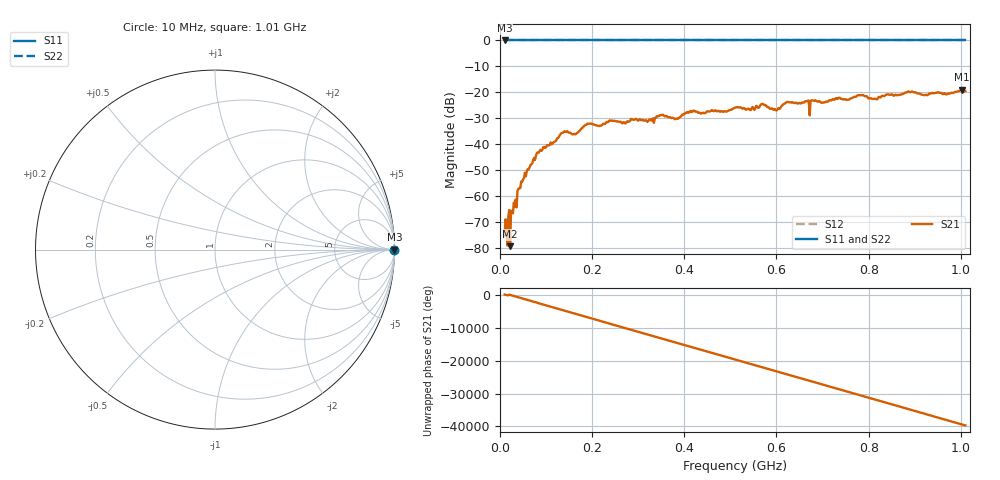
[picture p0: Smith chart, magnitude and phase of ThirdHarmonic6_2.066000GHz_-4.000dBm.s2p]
! 8/17/2025 12:45:00 AM
! C:\ANRITSUVNA\TEMP\TEMP.S2P
! CHANNEL.1
! TR.MEASUREMENT
! RAW.DATA
! RF.CORRECTION.OFF
! AVERAGING.OFF
! IF.BANDWIDTH: 5KHZ
! SWEEPTYPE:  FREQ.SWEEP(Linear)
! Reference Plane Port Info
! PORT:  PORT1  PORT2
! DISTANCE:  0  m  0  m
! TIME:  0  s  0  s
! PHASE.OFFSET:  0  deg.  0  deg.
! LOSS:  0  dB  0  dB
! REF.LOSS:  0  dB  0  dB
! REF.FREQ:  0  Hz  0  Hz
! Power Info
! POWER:  -20  dBm  -20  dBm
! EFF.POWER:  -20  dBm  -20  dBm
! SOURCE.ATTEN:  0  dB  0  dB
! TEST.ATTEN:  0  dB  0  dB
# GHZ S RI R 50.0
! FREQ.GHZ  S11RE  S11IM  S21RE  S21IM  S12RE  S12IM  S22RE  S22IM
!; PortSelection: Port_12
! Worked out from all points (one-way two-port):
!   501 points, 10 MHz to 1.01 GHz, reference 50 ohm
!   highest |S21| = -18.98 dB at 1.002 GHz (marker M1); lowest = -79.2 dB at 22 MHz (marker M2)
!   lowest |S11| = 0.0 dB at 10 MHz (marker M3)
!   |S11| at or under -10 dB: nowhere
!   |S22| runs from 0.0 to 0.0 dB; largest |S21 - S12| = 1.1
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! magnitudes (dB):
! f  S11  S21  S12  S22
! 10 MHz  0.0  -75.2  0.0  0.0
! 12 MHz  0.0  -68.9  0.0  0.0
! 16 MHz  0.0  -78.9  0.0  0.0
! 18 MHz  0.0  -68.1  0.0  0.0
! 22 MHz  0.0  -79.2  0.0  0.0
! 26 MHz  0.0  -66.4  0.0  0.0
! 42 MHz  0.0  -56.8  0.0  0.0
! 84 MHz  0.0  -43.2  0.0  0.0
! 136 MHz  0.0  -35.6  0.0  0.0
! 162 MHz  0.0  -36.1  0.0  0.0
! 178 MHz  0.0  -33.7  0.0  0.0
! 344 MHz  0.0  -29.2  0.0  0.0
! 384 MHz  0.0  -30.1  0.0  0.0
! 416 MHz  0.0  -27.6  0.0  0.0
! 510 MHz  0.0  -25.9  0.0  0.0
! 570 MHz  0.0  -24.4  0.0  0.0
! 598 MHz  0.0  -26.6  0.0  0.0
! 624 MHz  0.0  -23.6  0.0  0.0
! 678 MHz  0.0  -23.0  0.0  0.0
! 844 MHz  0.0  -20.8  0.0  0.0
! 1.002 GHz  0.0  -19.0  0.0  0.0
! 1.01 GHz  0.0  -19.5  0.0  0.0
